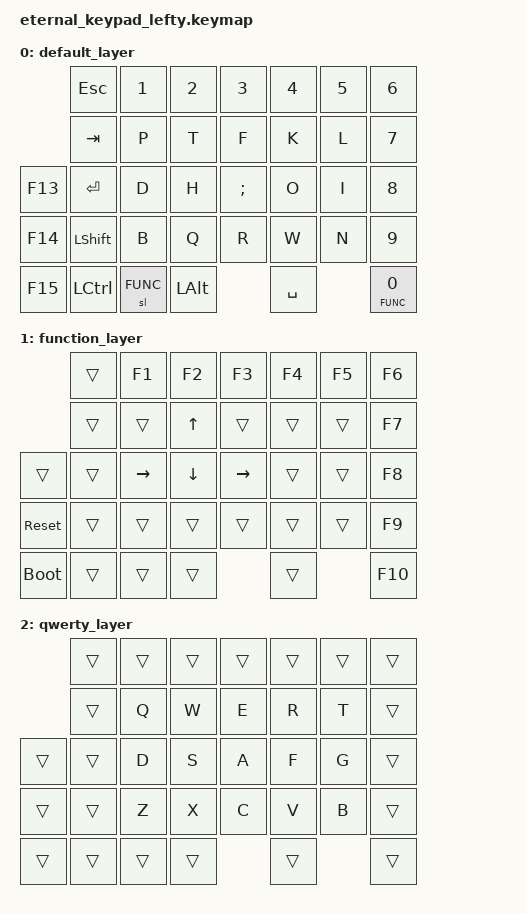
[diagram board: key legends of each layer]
/*
 * Copyright (c) 2022 The ZMK Contributors
 *
 * SPDX-License-Identifier: MIT
 */

#include <behaviors.dtsi>
#include <dt-bindings/zmk/keys.h>
#include <dt-bindings/zmk/bt.h>
#include <dt-bindings/zmk/outputs.h>
#include <dt-bindings/zmk/rgb.h>

#define BASE        0
#define FUNC        1
#define QWERTY      2

/ {
  chosen {
      zmk,kscan = &kscan0;
      zmk,matrix_transform = &default_transform;
  };

  keymap {
    compatible = "zmk,keymap";

    default_layer {
      bindings = <
                &kp ESC   &kp N1   &kp N2   &kp N3   &kp N4    &kp N5 &kp N6
                &kp TAB   &kp P    &kp T    &kp F    &kp K     &kp L  &kp N7
        &kp F13 &kp ENTER &kp D    &kp H    &kp SEMI &kp O     &kp I  &kp N8
        &kp F14 &kp LSHFT &kp B    &kp Q    &kp R    &kp W     &kp N  &kp N9
        &kp F15 &kp LCTRL &sl FUNC &kp LALT          &kp SPACE        &lt FUNC N0
      >;
    };

    function_layer {
      bindings = <
                    &trans &kp F1    &kp F2   &kp F3    &kp F4 &kp F5 &kp F6
                    &trans &trans    &kp UP   &trans    &trans &trans &kp F7
        &trans      &trans &kp RIGHT &kp DOWN &kp RIGHT &trans &trans &kp F8
        &sys_reset  &trans &trans    &trans   &trans    &trans &trans &kp F9
        &bootloader &trans &trans    &trans             &trans        &kp F10
      >;
    };

    qwerty_layer {
      bindings = <
               &trans &trans &trans &trans &trans &trans &trans
               &trans &kp Q  &kp W  &kp E  &kp R  &kp T  &trans
        &trans &trans &kp D  &kp S  &kp A  &kp F  &kp G  &trans
        &trans &trans &kp Z  &kp X  &kp C  &kp V  &kp B  &trans
        &trans &trans &trans &trans        &trans        &trans
      >;
    };
  };
};
